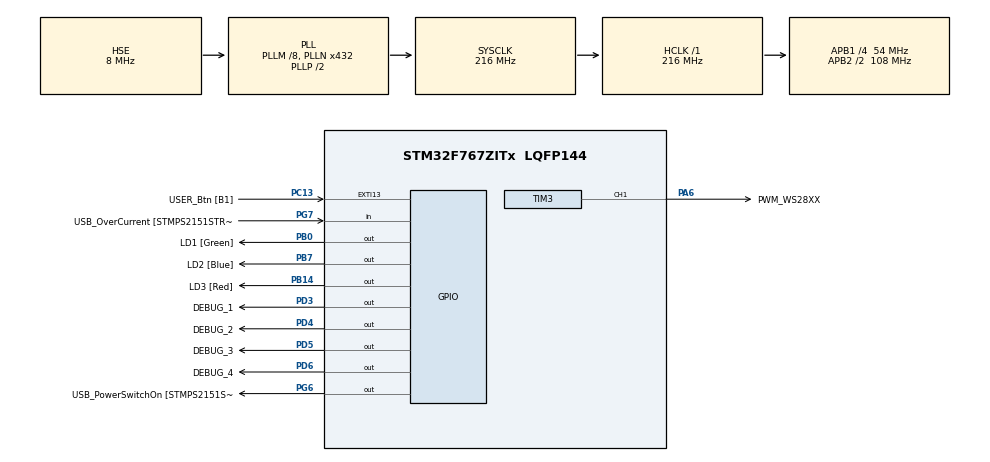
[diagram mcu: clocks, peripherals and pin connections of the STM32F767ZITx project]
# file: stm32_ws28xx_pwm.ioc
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Dma.Request0=TIM3_CH1/TRIG
Dma.TIM3_CH1/TRIG.0.Direction=DMA_MEMORY_TO_PERIPH
Dma.TIM3_CH1/TRIG.0.FIFOMode=DMA_FIFOMODE_DISABLE
Dma.TIM3_CH1/TRIG.0.Instance=DMA1_Stream4
Dma.TIM3_CH1/TRIG.0.MemDataAlignment=DMA_MDATAALIGN_WORD
Dma.TIM3_CH1/TRIG.0.MemInc=DMA_MINC_ENABLE
Dma.TIM3_CH1/TRIG.0.Mode=DMA_CIRCULAR
Dma.TIM3_CH1/TRIG.0.PeriphDataAlignment=DMA_PDATAALIGN_WORD
Dma.TIM3_CH1/TRIG.0.PeriphInc=DMA_PINC_DISABLE
Dma.TIM3_CH1/TRIG.0.Priority=DMA_PRIORITY_LOW
Mcu.Family=STM32F7
Mcu.Name=STM32F767ZITx
Mcu.Package=LQFP144
NVIC.DMA1_Stream4_IRQn=true\:0\:0\:false\:false\:true\:false\:true\:true
NVIC.PriorityGroup=NVIC_PRIORITYGROUP_4
PA1.GPIO_Label=RMII_REF_CLK [LAN8742A-CZ-TR_REFCLK0]
PA1.Signal=ETH_REF_CLK
PA10.GPIO_Label=USB_ID
PA10.Signal=USB_OTG_FS_ID
PA11.GPIO_Label=USB_DM
PA11.Signal=USB_OTG_FS_DM
PA12.GPIO_Label=USB_DP
PA12.Signal=USB_OTG_FS_DP
PA13.GPIO_Label=TMS
PA13.Mode=Serial_Wire
PA13.Signal=SYS_JTMS-SWDIO
PA14.GPIO_Label=TCK
PA14.Mode=Serial_Wire
PA14.Signal=SYS_JTCK-SWCLK
PA2.GPIO_Label=RMII_MDIO [LAN8742A-CZ-TR_MDIO]
PA2.Signal=ETH_MDIO
PA6.GPIO_Label=PWM_WS28XX
PA6.Signal=S_TIM3_CH1
PA7.GPIO_Label=RMII_CRS_DV [LAN8742A-CZ-TR_CRS_DV]
PA7.Signal=ETH_CRS_DV
PA8.GPIO_Label=USB_SOF [TP1]
PA8.Signal=USB_OTG_FS_SOF
PA9.GPIO_Label=USB_VBUS
PA9.Signal=USB_OTG_FS_VBUS
PB0.GPIO_Label=LD1 [Green]
PB0.Signal=GPIO_Output
PB13.GPIO_Label=RMII_TXD1 [LAN8742A-CZ-TR_TXD1]
PB13.Signal=ETH_TXD1
PB14.GPIO_Label=LD3 [Red]
PB14.Signal=GPIO_Output
PB3.GPIO_Label=SWO
PB3.Signal=SYS_JTDO-SWO
PB7.GPIO_Label=LD2 [Blue]
PB7.Signal=GPIO_Output
PC1.GPIO_Label=RMII_MDC [LAN8742A-CZ-TR_MDC]
PC1.Signal=ETH_MDC
PC13.GPIO_Label=USER_Btn [B1]
PC13.Signal=GPXTI13
PC14/OSC32_IN.Mode=LSE-External-Oscillator
PC14/OSC32_IN.Signal=RCC_OSC32_IN
PC15/OSC32_OUT.Mode=LSE-External-Oscillator
PC15/OSC32_OUT.Signal=RCC_OSC32_OUT
PC4.GPIO_Label=RMII_RXD0 [LAN8742A-CZ-TR_RXD0]
PC4.Signal=ETH_RXD0
PC5.GPIO_Label=RMII_RXD1 [LAN8742A-CZ-TR_RXD1]
PC5.Signal=ETH_RXD1
PD3.GPIO_Label=DEBUG_1
PD3.Signal=GPIO_Output
PD4.GPIO_Label=DEBUG_2
PD4.Signal=GPIO_Output
PD5.GPIO_Label=DEBUG_3
PD5.Signal=GPIO_Output
PD6.GPIO_Label=DEBUG_4
PD6.Signal=GPIO_Output
PD8.GPIO_Label=STLK_RX [STM32F103CBT6_PA3]
PD8.Signal=USART3_TX
PD9.GPIO_Label=STLK_TX [STM32F103CBT6_PA2]
PD9.Signal=USART3_RX
PG11.GPIO_Label=RMII_TX_EN [LAN8742A-CZ-TR_TXEN]
PG11.Signal=ETH_TX_EN
PG13.GPIO_Label=RMII_TXD0 [LAN8742A-CZ-TR_TXD0]
PG13.Signal=ETH_TXD0
PG6.GPIO_Label=USB_PowerSwitchOn [STMPS2151STR_EN]
PG6.Signal=GPIO_Output
PG7.GPIO_Label=USB_OverCurrent [STMPS2151STR_FAULT]
PG7.Signal=GPIO_Input
PH0/OSC_IN.GPIO_Label=MCO [STM32F103CBT6_PA8]
PH0/OSC_IN.Mode=HSE-External-Clock-Source
PH0/OSC_IN.Signal=RCC_OSC_IN
PH1/OSC_OUT.Mode=HSE-External-Clock-Source
PH1/OSC_OUT.Signal=RCC_OSC_OUT
ProjectManager.HeapSize=0x200
ProjectManager.StackSize=0x400
ProjectManager.TargetToolchain=STM32CubeIDE
RCC.48MHZClocksFreq_Value=24000000
RCC.AHBFreq_Value=216000000
RCC.APB1CLKDivider=RCC_HCLK_DIV4
RCC.APB1Freq_Value=54000000
RCC.APB1TimFreq_Value=108000000
RCC.APB2CLKDivider=RCC_HCLK_DIV2
RCC.APB2Freq_Value=108000000
RCC.APB2TimFreq_Value=216000000
RCC.CortexFreq_Value=216000000
RCC.HCLKFreq_Value=216000000
RCC.HSE_VALUE=8000000
RCC.HSI_VALUE=16000000
RCC.PLLM=8
RCC.PLLMUL=RCC_PLL_MUL9
RCC.PLLN=432
RCC.PLLQ=4
RCC.PLLSourceVirtual=RCC_PLLSOURCE_HSE
RCC.PRESCALERUSB=RCC_USBCLKSOURCE_PLL_DIV1_5
RCC.SYSCLKFreq_VALUE=216000000
RCC.SYSCLKSource=RCC_SYSCLKSOURCE_PLLCLK
RCC.SYSCLKSourceVirtual=RCC_SYSCLKSOURCE_PLLCLK
RCC.USBFreq_Value=108000000
RCC.VCOOutputFreq_Value=432000000
SH.S_TIM3_CH1.0=TIM3_CH1,PWM Generation1 CH1
TIM3.AutoReloadPreload=TIM_AUTORELOAD_PRELOAD_DISABLE
TIM3.Channel-PWM\ Generation1\ CH1=TIM_CHANNEL_1
TIM3.Period=135
VP_TIM3_VS_ClockSourceINT.Mode=Internal
board=NUCLEO-F767ZI

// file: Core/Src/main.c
/* USER CODE BEGIN Header */
/**
  ******************************************************************************
  * @file           : main.c
  * @brief          : Main program body
  ******************************************************************************
  * @attention
  *
  * Copyright (c) 2024 STMicroelectronics.
  * All rights reserved.
  *
  * This software is licensed under terms that can be found in the LICENSE file
  * in the root directory of this software component.
  * If no LICENSE file comes with this software, it is provided AS-IS.
  *
  ******************************************************************************
  */
/* USER CODE END Header */
#include "main.h"

/* USER CODE BEGIN Includes */
#include "ws28xx_pwm.h"
#include "math.h"

/* USER CODE END Includes */

TIM_HandleTypeDef htim3;
DMA_HandleTypeDef hdma_tim3_ch1_trig;

void SystemClock_Config(void);
static void MX_GPIO_Init(void);
static void MX_DMA_Init(void);
static void MX_TIM3_Init(void);

int main(void)
{

  /* MCU Configuration--------------------------------------------------------*/

  /* Reset of all peripherals, Initializes the Flash interface and the Systick. */
  HAL_Init();

  /* Configure the system clock */
  SystemClock_Config();

  /* Initialize all configured peripherals */
  MX_GPIO_Init();
  MX_DMA_Init();
  MX_TIM3_Init();
  /* USER CODE BEGIN 2 */
  ws28xx_pwm_init(&htim3, TIM_CHANNEL_1);

  // set the color of the LED
  // ws28xx_pwm_set_color(16, 0, 8, 0);
  // ws28xx_pwm_set_color(0, 16, 0, 1);
  // ws28xx_pwm_set_color(0, 0, 16, 2);
  // ws28xx_pwm_set_color(16, 16, 0, 3);

  // start the PWM signal generation
  // ws28xx_pwm_update();

  /* USER CODE END 2 */

  /* Infinite loop */
  /* USER CODE BEGIN WHILE */
  float current_rgb = 8;
  int8_t inc_rgb = 0;
  float x = 0;
  while (1)
  {
    /* USER CODE END WHILE */

    /* USER CODE BEGIN 3 */
    // ws28xx_pwm_set_color(inc_rgb%max_rgb, (4+inc_rgb)%max_rgb, (8+inc_rgb)%max_rgb, 0);
    // ws28xx_pwm_set_color((4+inc_rgb)%max_rgb, (8+inc_rgb)%max_rgb, (0+inc_rgb)%max_rgb, 1);
    // ws28xx_pwm_set_color((8+inc_rgb)%max_rgb, (0+inc_rgb)%max_rgb, (4+inc_rgb)%max_rgb, 2);
    // ws28xx_pwm_set_color((4+inc_rgb)%max_rgb, (8+inc_rgb)%max_rgb, (4+inc_rgb)%max_rgb, 3);
    // ws28xx_pwm_set_color((8+inc_rgb)%max_rgb, (4+inc_rgb)%max_rgb, (8+inc_rgb)%max_rgb, 4);

    // blinking
    // if (inc_rgb % 2) ws28xx_pwm_set_color_all(16, 0, 0);
    // else ws28xx_pwm_set_color_all_off();

    // breathing
    ws28xx_pwm_set_color_all((uint8_t)current_rgb, 0, 0);

    ws28xx_pwm_update();

    current_rgb = 16 + 15 * sin(1.5*x);

    x += 0.1;

    // delay few seconds
    HAL_Delay(50);
  }
  /* USER CODE END 3 */
}

void SystemClock_Config(void)
{
  RCC_OscInitTypeDef RCC_OscInitStruct = {0};
  RCC_ClkInitTypeDef RCC_ClkInitStruct = {0};

  /** Configure LSE Drive Capability
  */
  HAL_PWR_EnableBkUpAccess();

  /** Configure the main internal regulator output voltage
  */
  __HAL_RCC_PWR_CLK_ENABLE();
  __HAL_PWR_VOLTAGESCALING_CONFIG(PWR_REGULATOR_VOLTAGE_SCALE1);

  /** Initializes the RCC Oscillators according to the specified parameters
  * in the RCC_OscInitTypeDef structure.
  */
  RCC_OscInitStruct.OscillatorType = RCC_OSCILLATORTYPE_HSE;
  RCC_OscInitStruct.HSEState = RCC_HSE_BYPASS;
  RCC_OscInitStruct.PLL.PLLState = RCC_PLL_ON;
  RCC_OscInitStruct.PLL.PLLSource = RCC_PLLSOURCE_HSE;
  RCC_OscInitStruct.PLL.PLLM = 8;
  RCC_OscInitStruct.PLL.PLLN = 432;
  RCC_OscInitStruct.PLL.PLLP = RCC_PLLP_DIV2;
  RCC_OscInitStruct.PLL.PLLQ = 4;
  RCC_OscInitStruct.PLL.PLLR = 2;
  if (HAL_RCC_OscConfig(&RCC_OscInitStruct) != HAL_OK)
  {
    Error_Handler();
  }

  /** Activate the Over-Drive mode
  */
  if (HAL_PWREx_EnableOverDrive() != HAL_OK)
  {
    Error_Handler();
  }

  /** Initializes the CPU, AHB and APB buses clocks
  */
  RCC_ClkInitStruct.ClockType = RCC_CLOCKTYPE_HCLK|RCC_CLOCKTYPE_SYSCLK
                              |RCC_CLOCKTYPE_PCLK1|RCC_CLOCKTYPE_PCLK2;
  RCC_ClkInitStruct.SYSCLKSource = RCC_SYSCLKSOURCE_PLLCLK;
  RCC_ClkInitStruct.AHBCLKDivider = RCC_SYSCLK_DIV1;
  RCC_ClkInitStruct.APB1CLKDivider = RCC_HCLK_DIV4;
  RCC_ClkInitStruct.APB2CLKDivider = RCC_HCLK_DIV2;

  if (HAL_RCC_ClockConfig(&RCC_ClkInitStruct, FLASH_LATENCY_7) != HAL_OK)
  {
    Error_Handler();
  }
}

static void MX_TIM3_Init(void)
{

  TIM_ClockConfigTypeDef sClockSourceConfig = {0};
  TIM_MasterConfigTypeDef sMasterConfig = {0};
  TIM_OC_InitTypeDef sConfigOC = {0};

  htim3.Instance = TIM3;
  htim3.Init.Prescaler = 0;
  htim3.Init.CounterMode = TIM_COUNTERMODE_UP;
  htim3.Init.Period = 135;
  htim3.Init.ClockDivision = TIM_CLOCKDIVISION_DIV1;
  htim3.Init.AutoReloadPreload = TIM_AUTORELOAD_PRELOAD_DISABLE;
  if (HAL_TIM_Base_Init(&htim3) != HAL_OK)
  {
    Error_Handler();
  }
  sClockSourceConfig.ClockSource = TIM_CLOCKSOURCE_INTERNAL;
  if (HAL_TIM_ConfigClockSource(&htim3, &sClockSourceConfig) != HAL_OK)
  {
    Error_Handler();
  }
  if (HAL_TIM_PWM_Init(&htim3) != HAL_OK)
  {
    Error_Handler();
  }
  sMasterConfig.MasterOutputTrigger = TIM_TRGO_RESET;
  sMasterConfig.MasterSlaveMode = TIM_MASTERSLAVEMODE_DISABLE;
  if (HAL_TIMEx_MasterConfigSynchronization(&htim3, &sMasterConfig) != HAL_OK)
  {
    Error_Handler();
  }
  sConfigOC.OCMode = TIM_OCMODE_PWM1;
  sConfigOC.Pulse = 0;
  sConfigOC.OCPolarity = TIM_OCPOLARITY_HIGH;
  sConfigOC.OCFastMode = TIM_OCFAST_DISABLE;
  if (HAL_TIM_PWM_ConfigChannel(&htim3, &sConfigOC, TIM_CHANNEL_1) != HAL_OK)
  {
    Error_Handler();
  }
  HAL_TIM_MspPostInit(&htim3);

}

static void MX_DMA_Init(void)
{

  /* DMA controller clock enable */
  __HAL_RCC_DMA1_CLK_ENABLE();

  /* DMA interrupt init */
  /* DMA1_Stream4_IRQn interrupt configuration */
  HAL_NVIC_SetPriority(DMA1_Stream4_IRQn, 0, 0);
  HAL_NVIC_EnableIRQ(DMA1_Stream4_IRQn);

}

static void MX_GPIO_Init(void)
{
  GPIO_InitTypeDef GPIO_InitStruct = {0};

  /* GPIO Ports Clock Enable */
  __HAL_RCC_GPIOC_CLK_ENABLE();
  __HAL_RCC_GPIOH_CLK_ENABLE();
  __HAL_RCC_GPIOA_CLK_ENABLE();
  __HAL_RCC_GPIOB_CLK_ENABLE();
  __HAL_RCC_GPIOD_CLK_ENABLE();
  __HAL_RCC_GPIOG_CLK_ENABLE();

  /*Configure GPIO pin Output Level */
  HAL_GPIO_WritePin(GPIOB, LD1_Pin|LD3_Pin|LD2_Pin, GPIO_PIN_RESET);

  /*Configure GPIO pin Output Level */
  HAL_GPIO_WritePin(USB_PowerSwitchOn_GPIO_Port, USB_PowerSwitchOn_Pin, GPIO_PIN_RESET);

  /*Configure GPIO pin Output Level */
  HAL_GPIO_WritePin(GPIOD, DEBUG_1_Pin|DEBUG_2_Pin|DEBUG_3_Pin|DEBUG_4_Pin, GPIO_PIN_RESET);

  /*Configure GPIO pin : USER_Btn_Pin */
  GPIO_InitStruct.Pin = USER_Btn_Pin;
  GPIO_InitStruct.Mode = GPIO_MODE_IT_RISING;
  GPIO_InitStruct.Pull = GPIO_NOPULL;
  HAL_GPIO_Init(USER_Btn_GPIO_Port, &GPIO_InitStruct);

  /*Configure GPIO pins : RMII_MDC_Pin RMII_RXD0_Pin RMII_RXD1_Pin */
  GPIO_InitStruct.Pin = RMII_MDC_Pin|RMII_RXD0_Pin|RMII_RXD1_Pin;
  GPIO_InitStruct.Mode = GPIO_MODE_AF_PP;
  GPIO_InitStruct.Pull = GPIO_NOPULL;
  GPIO_InitStruct.Speed = GPIO_SPEED_FREQ_VERY_HIGH;
  GPIO_InitStruct.Alternate = GPIO_AF11_ETH;
  HAL_GPIO_Init(GPIOC, &GPIO_InitStruct);

  /*Configure GPIO pins : RMII_REF_CLK_Pin RMII_MDIO_Pin RMII_CRS_DV_Pin */
  GPIO_InitStruct.Pin = RMII_REF_CLK_Pin|RMII_MDIO_Pin|RMII_CRS_DV_Pin;
  GPIO_InitStruct.Mode = GPIO_MODE_AF_PP;
  GPIO_InitStruct.Pull = GPIO_NOPULL;
  GPIO_InitStruct.Speed = GPIO_SPEED_FREQ_VERY_HIGH;
  GPIO_InitStruct.Alternate = GPIO_AF11_ETH;
  HAL_GPIO_Init(GPIOA, &GPIO_InitStruct);

  /*Configure GPIO pins : LD1_Pin LD3_Pin LD2_Pin */
  GPIO_InitStruct.Pin = LD1_Pin|LD3_Pin|LD2_Pin;
  GPIO_InitStruct.Mode = GPIO_MODE_OUTPUT_PP;
  GPIO_InitStruct.Pull = GPIO_NOPULL;
  GPIO_InitStruct.Speed = GPIO_SPEED_FREQ_LOW;
  HAL_GPIO_Init(GPIOB, &GPIO_InitStruct);

  /*Configure GPIO pin : RMII_TXD1_Pin */
  GPIO_InitStruct.Pin = RMII_TXD1_Pin;
  GPIO_InitStruct.Mode = GPIO_MODE_AF_PP;
  GPIO_InitStruct.Pull = GPIO_NOPULL;
  GPIO_InitStruct.Speed = GPIO_SPEED_FREQ_VERY_HIGH;
  GPIO_InitStruct.Alternate = GPIO_AF11_ETH;
  HAL_GPIO_Init(RMII_TXD1_GPIO_Port, &GPIO_InitStruct);

  /*Configure GPIO pins : STLK_RX_Pin STLK_TX_Pin */
  GPIO_InitStruct.Pin = STLK_RX_Pin|STLK_TX_Pin;
  GPIO_InitStruct.Mode = GPIO_MODE_AF_PP;
  GPIO_InitStruct.Pull = GPIO_NOPULL;
  GPIO_InitStruct.Speed = GPIO_SPEED_FREQ_VERY_HIGH;
  GPIO_InitStruct.Alternate = GPIO_AF7_USART3;
  HAL_GPIO_Init(GPIOD, &GPIO_InitStruct);

  /*Configure GPIO pin : USB_PowerSwitchOn_Pin */
  GPIO_InitStruct.Pin = USB_PowerSwitchOn_Pin;
  GPIO_InitStruct.Mode = GPIO_MODE_OUTPUT_PP;
  GPIO_InitStruct.Pull = GPIO_NOPULL;
  GPIO_InitStruct.Speed = GPIO_SPEED_FREQ_LOW;
  HAL_GPIO_Init(USB_PowerSwitchOn_GPIO_Port, &GPIO_InitStruct);

  /*Configure GPIO pin : USB_OverCurrent_Pin */
  GPIO_InitStruct.Pin = USB_OverCurrent_Pin;
  GPIO_InitStruct.Mode = GPIO_MODE_INPUT;
  GPIO_InitStruct.Pull = GPIO_NOPULL;
  HAL_GPIO_Init(USB_OverCurrent_GPIO_Port, &GPIO_InitStruct);

  /*Configure GPIO pins : USB_SOF_Pin USB_ID_Pin USB_DM_Pin USB_DP_Pin */
  GPIO_InitStruct.Pin = USB_SOF_Pin|USB_ID_Pin|USB_DM_Pin|USB_DP_Pin;
  GPIO_InitStruct.Mode = GPIO_MODE_AF_PP;
  GPIO_InitStruct.Pull = GPIO_NOPULL;
  GPIO_InitStruct.Speed = GPIO_SPEED_FREQ_VERY_HIGH;
  GPIO_InitStruct.Alternate = GPIO_AF10_OTG_FS;
  HAL_GPIO_Init(GPIOA, &GPIO_InitStruct);

  /*Configure GPIO pin : USB_VBUS_Pin */
  GPIO_InitStruct.Pin = USB_VBUS_Pin;
  GPIO_InitStruct.Mode = GPIO_MODE_INPUT;
  GPIO_InitStruct.Pull = GPIO_NOPULL;
  HAL_GPIO_Init(USB_VBUS_GPIO_Port, &GPIO_InitStruct);

  /*Configure GPIO pins : DEBUG_1_Pin DEBUG_2_Pin DEBUG_3_Pin DEBUG_4_Pin */
  GPIO_InitStruct.Pin = DEBUG_1_Pin|DEBUG_2_Pin|DEBUG_3_Pin|DEBUG_4_Pin;
  GPIO_InitStruct.Mode = GPIO_MODE_OUTPUT_PP;
  GPIO_InitStruct.Pull = GPIO_NOPULL;
  GPIO_InitStruct.Speed = GPIO_SPEED_FREQ_LOW;
  HAL_GPIO_Init(GPIOD, &GPIO_InitStruct);

  /*Configure GPIO pins : RMII_TX_EN_Pin RMII_TXD0_Pin */
  GPIO_InitStruct.Pin = RMII_TX_EN_Pin|RMII_TXD0_Pin;
  GPIO_InitStruct.Mode = GPIO_MODE_AF_PP;
  GPIO_InitStruct.Pull = GPIO_NOPULL;
  GPIO_InitStruct.Speed = GPIO_SPEED_FREQ_VERY_HIGH;
  GPIO_InitStruct.Alternate = GPIO_AF11_ETH;
  HAL_GPIO_Init(GPIOG, &GPIO_InitStruct);

}

/* USER CODE BEGIN 4 */
void HAL_TIM_PWM_PulseFinishedHalfCpltCallback(TIM_HandleTypeDef *htim)
{
  // turn on PD3 ===> DEBUG_1
  HAL_GPIO_WritePin(DEBUG_1_GPIO_Port, DEBUG_1_Pin, GPIO_PIN_SET);
  ws28xx_pwm_dma_half_complete_callback();
  // turn off PD3 ===> DEBUG_1
  HAL_GPIO_WritePin(DEBUG_1_GPIO_Port, DEBUG_1_Pin, GPIO_PIN_RESET);
}

void HAL_TIM_PWM_PulseFinishedCallback(TIM_HandleTypeDef *htim)
{
  // turn on PD4 ===> DEBUG_2
  HAL_GPIO_WritePin(DEBUG_2_GPIO_Port, DEBUG_2_Pin, GPIO_PIN_SET);
  ws28xx_pwm_dma_complete_callback();
  // turn off PD4 ===> DEBUG_2
  HAL_GPIO_WritePin(DEBUG_2_GPIO_Port, DEBUG_2_Pin, GPIO_PIN_RESET);
}

/* USER CODE END 4 */

void Error_Handler(void)
{
  __disable_irq();
  while (1)
  {
  }
}
